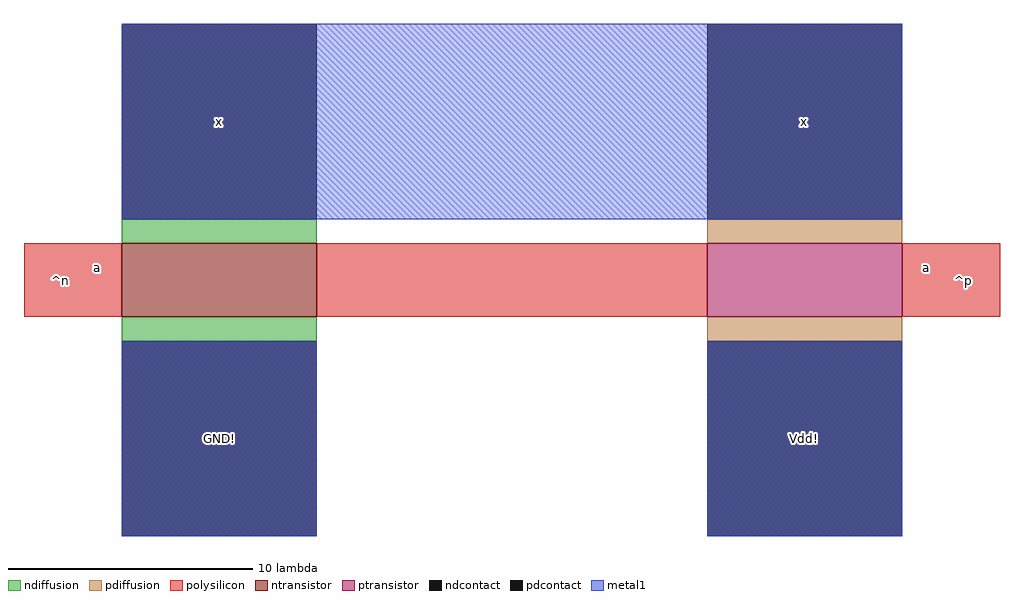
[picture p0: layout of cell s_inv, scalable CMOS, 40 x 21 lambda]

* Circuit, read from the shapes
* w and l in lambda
.subckt s_inv GND! Vdd! a x
M1 x a GND! VSUBS nfet w=8 l=3
M2 x a Vdd! NWELL pfet w=8 l=3
.ends

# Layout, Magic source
magic
tech scmos
<< ndiffusion >>
rect 68 440 76 441
rect 68 436 76 437
<< pdiffusion >>
rect 92 440 100 441
rect 92 436 100 437
<< ntransistor >>
rect 68 437 76 440
<< ptransistor >>
rect 92 437 100 440
<< polysilicon >>
rect 64 437 68 440
rect 76 437 92 440
rect 100 437 104 440
<< ndcontact >>
rect 68 441 76 449
rect 68 428 76 436
<< pdcontact >>
rect 92 441 100 449
rect 92 428 100 436
<< metal1 >>
rect 68 441 100 449
rect 68 428 76 436
rect 92 428 100 436
<< labels >>
rlabel polysilicon 101 439 101 439 7 a
rlabel polysilicon 67 439 67 439 3 a
rlabel ndcontact 72 432 72 432 2 GND!
rlabel pdcontact 96 432 96 432 8 Vdd!
rlabel pdcontact 96 445 96 445 6 x
rlabel ndcontact 72 445 72 445 4 x
rlabel space 63 428 68 449 7 ^n
rlabel space 100 428 105 449 3 ^p
<< end >>
